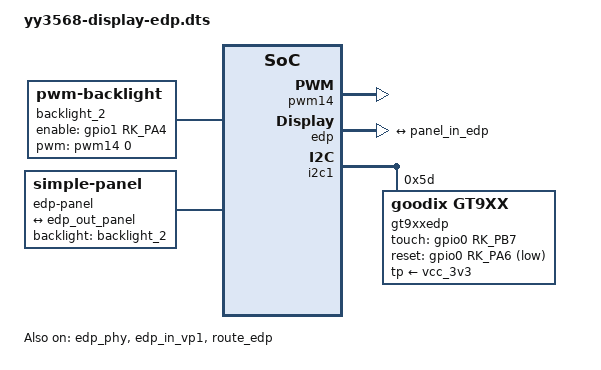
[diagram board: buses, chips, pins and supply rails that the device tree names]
/dts-v1/;
/plugin/;

#include <dt-bindings/gpio/gpio.h>
#include <dt-bindings/pinctrl/rockchip.h>
#include <dt-bindings/interrupt-controller/irq.h>

/ {
	metadata {
		title ="Enable YY3568 eDP";
		compatible = "youyeetoo,yy3568";
	};

    fragment@0 {
		target-path = "/";

		__overlay__ {
			backlight_2: backlight-2 {
		        compatible = "pwm-backlight";
		        pwms = <&pwm14 0 25000 0>;
		        brightness-levels = <
		        0  20  20  21  21  22  22  23
		        23  24  24  25  25  26  26  27
		        27  28  28  29  29  30  30  31
		        31  32  32  33  33  34  34  35
		        35  36  36  37  37  38  38  39
		        40  41  42  43  44  45  46  47
		        48  49  50  51  52  53  54  55
		        56  57  58  59  60  61  62  63
		        64  65  66  67  68  69  70  71
		        72  73  74  75  76  77  78  79
		        80  81  82  83  84  85  86  87
		        88  89  90  91  92  93  94  95
		        96  97  98  99 100 101 102 103
		        104 105 106 107 108 109 110 111
		        112 113 114 115 116 117 118 119
		        120 121 122 123 124 125 126 127
		        128 129 130 131 132 133 134 135
		        136 137 138 139 140 141 142 143
		        144 145 146 147 148 149 150 151
		        152 153 154 155 156 157 158 159
		        160 161 162 163 164 165 166 167
		        168 169 170 171 172 173 174 175
		        176 177 178 179 180 181 182 183
		        184 185 186 187 188 189 190 191
		        192 193 194 195 196 197 198 199
		        200 201 202 203 204 205 206 207
		        208 209 210 211 212 213 214 215
		        216 217 218 219 220 221 222 223
		        224 225 226 227 228 229 230 231
		        232 233 234 235 236 237 238 239
		        240 241 242 243 244 245 246 247
		        248 249 250 251 252 253 254 255
		        >;
		        default-brightness-level = <200>;

		        enable-gpios = <&gpio1 RK_PA4 GPIO_ACTIVE_HIGH>;
	        };

            edp-panel {
		        compatible = "simple-panel";
		        backlight = <&backlight_2>;
		        //power-supply = <&vcc3v3_lcd0_n>;
		        prepare-delay-ms = <120>;
		        enable-delay-ms = <120>;
		        unprepare-delay-ms = <120>;
		        disable-delay-ms = <120>;

		        display-timings {
			        native-mode = <&edp_timing>;

			        edp_timing: timing0 {
				        clock-frequency = <138500000>;
				        hactive = <1920>;
				        vactive = <1080>;
				        hfront-porch = <64>;
				        hsync-len = <32>;
				        hback-porch = <64>;
				        vfront-porch = <12>;
				        vsync-len = <7>;
				        vback-porch = <12>;
				        hsync-active = <0>;
				        vsync-active = <0>;
				        de-active = <0>;
				        pixelclk-active = <0>;
			        };
		        };

		        port {
			        panel_in_edp: endpoint {
				        remote-endpoint = <&edp_out_panel>;
			        };
		        };
	        };
		};
	};

    fragment@1 {
        target = <&pwm14>;

        __overlay__ {
			status = "okay";
		};
    };

    fragment@2 {
        target = <&edp>;

        __overlay__ {
			force-hpd;
	        status = "okay";
			#address-cells = <1>;
			#size-cells = <0>;

	        ports {
		        port@1 {
			        reg = <1>;

			        edp_out_panel: endpoint {
				        remote-endpoint = <&panel_in_edp>;
			        };
		        };
	        };
		};
    };

    fragment@3 {
        target = <&edp_phy>;

        __overlay__ {
			status = "okay";
		};
    };

    fragment@4 {
        target = <&edp_in_vp1>;

        __overlay__ {
			status = "okay";
		};
    };

    fragment@5 {
        target = <&route_edp>;

        __overlay__ {
            connect = <&vp1_out_edp>;
			status = "okay";
		};
    };

    fragment@6 {
        target = <&i2c1>;

        __overlay__ {
			status = "okay";
			#address-cells = <1>;
			#size-cells = <0>;

            gt9xxedp: gt9xx@5d {
		        compatible = "goodix,gt9xx";
		        reg = <0x5d>;
		        touch-gpio = <&gpio0 RK_PB7 IRQ_TYPE_EDGE_RISING>;
		        reset-gpio = <&gpio0 RK_PA6 GPIO_ACTIVE_LOW>;
		        max-x = <1920>;
		        max-y = <1080>;
		        tp-size = <928>;
		        pinctrl-names = "default";
		        pinctrl-0 = <&touch_gpio>;
		        tp-supply = <&vcc_3v3>;
		        status = "okay";
	        };
		};
    };

    fragment@7 {
        target = <&pinctrl>;

        __overlay__ {
			touch {
		        touch_gpio: touch-gpio {
			        rockchip,pins =
				        <0 RK_PB7 RK_FUNC_GPIO &pcfg_pull_up>,
				        <0 RK_PA6 RK_FUNC_GPIO &pcfg_pull_none>;
		        };
	        };
		};
    };
};
